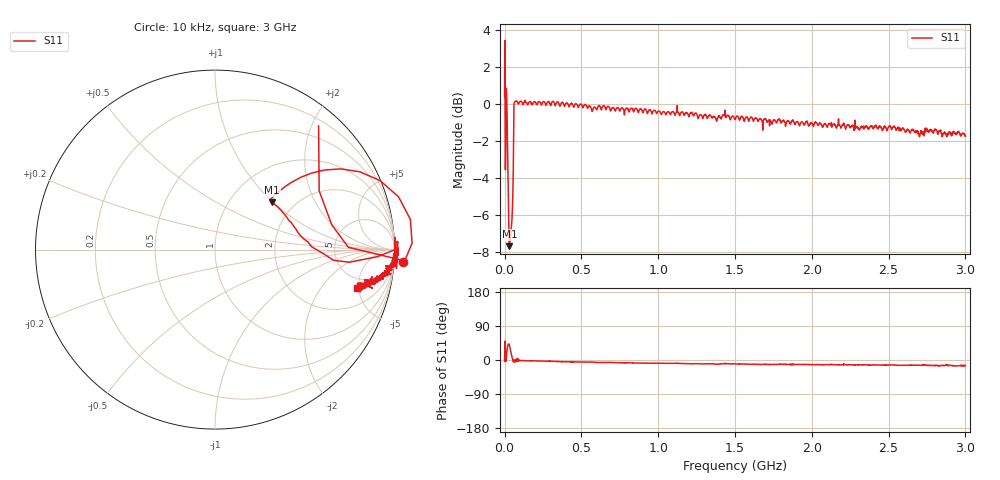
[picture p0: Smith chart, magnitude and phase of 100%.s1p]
# HZ S RI R 50
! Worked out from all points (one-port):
!   2020 points, 10 kHz to 3 GHz, reference 50 ohm
!   lowest |S11| = -7.7 dB at 31.21 MHz (marker M1), VSWR 2.41, Z = 77.6 + j49.4 ohm
!   |S11| at or under -10 dB: nowhere
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10000  1.045 -0.0685
5953516  0.6504 0.1382
1.635467e7  0.8075 0.4335
1.932643e7  0.6106 0.4436
2.378406e7  0.4276 0.3759
2.675582e7  0.3564 0.324
3.121346e7  0.3184 0.2637
3.715698e7  0.3822 0.2021
4.310049e7  0.438 0.1305
5.350164e7  0.568 -0.00179
6.39028e7  1.006 -0.0174
7.133219e7  1.017 0.0106
7.578983e7  1.017 0.0456
3.759374e8  1.01 -0.066
7.503789e8  0.9494 -0.1178
1.126306e9  0.9413 -0.1466
1.380392e9  0.8815 -0.1688
1.433883e9  0.9516 -0.1416
1.500748e9  0.8943 -0.1584
1.875189e9  0.8861 -0.1803
2.251117e9  0.8453 -0.1863
2.520061e9  0.8324 -0.19
2.625558e9  0.8282 -0.2019
2.732541e9  0.8165 -0.1944
2.826152e9  0.8159 -0.2168
2.884101e9  0.7991 -0.1947
2.937593e9  0.7975 -0.2196
3e9  0.7894 -0.2112
